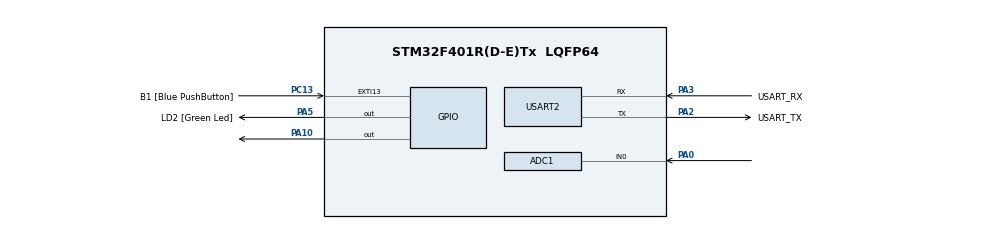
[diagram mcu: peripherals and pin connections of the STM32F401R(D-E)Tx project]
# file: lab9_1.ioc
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ADC1.Channel-0\#ChannelRegularConversion=ADC_CHANNEL_0
ADC1.ContinuousConvMode=ENABLE
ADC1.EOCSelection=ADC_EOC_SEQ_CONV
ADC1.NbrOfConversionFlag=1
ADC1.Rank-0\#ChannelRegularConversion=1
ADC1.Resolution=ADC_RESOLUTION_8B
ADC1.SamplingTime-0\#ChannelRegularConversion=ADC_SAMPLETIME_3CYCLES
ADC1.master=1
Mcu.Family=STM32F4
Mcu.Name=STM32F401R(D-E)Tx
Mcu.Package=LQFP64
NVIC.EXTI15_10_IRQn=true\:0\:0\:false\:false\:true\:true\:true
NVIC.PriorityGroup=NVIC_PRIORITYGROUP_1
NVIC.TIM3_IRQn=true\:0\:0\:false\:false\:true\:true\:true
PA0-WKUP.Signal=ADCx_IN0
PA10.Signal=GPIO_Output
PA13.GPIO_Label=TMS
PA13.Mode=Serial_Wire
PA13.Signal=SYS_JTMS-SWDIO
PA14.GPIO_Label=TCK
PA14.Mode=Serial_Wire
PA14.Signal=SYS_JTCK-SWCLK
PA2.GPIO_Label=USART_TX
PA2.GPIO_Mode=GPIO_MODE_AF_PP
PA2.GPIO_PuPd=GPIO_NOPULL
PA2.GPIO_Speed=GPIO_SPEED_FREQ_LOW
PA2.Mode=Asynchronous
PA2.Signal=USART2_TX
PA3.GPIO_Label=USART_RX
PA3.GPIO_Mode=GPIO_MODE_AF_PP
PA3.GPIO_PuPd=GPIO_NOPULL
PA3.GPIO_Speed=GPIO_SPEED_FREQ_LOW
PA3.Mode=Asynchronous
PA3.Signal=USART2_RX
PA5.GPIO_Label=LD2 [Green Led]
PA5.GPIO_Mode=GPIO_MODE_OUTPUT_PP
PA5.GPIO_PuPd=GPIO_NOPULL
PA5.GPIO_Speed=GPIO_SPEED_FREQ_LOW
PA5.Signal=GPIO_Output
PB3.GPIO_Label=SWO
PB3.Signal=SYS_JTDO-SWO
PC13-ANTI_TAMP.GPIO_Label=B1 [Blue PushButton]
PC13-ANTI_TAMP.GPIO_ModeDefaultEXTI=GPIO_MODE_IT_FALLING
PC13-ANTI_TAMP.GPIO_PuPd=GPIO_NOPULL
PC13-ANTI_TAMP.Signal=GPXTI13
PC14-OSC32_IN.Mode=LSE-External-Oscillator
PC14-OSC32_IN.Signal=RCC_OSC32_IN
PC15-OSC32_OUT.Mode=LSE-External-Oscillator
PC15-OSC32_OUT.Signal=RCC_OSC32_OUT
PH0\ -\ OSC_IN.Mode=HSE-External-Clock-Source
PH0\ -\ OSC_IN.Signal=RCC_OSC_IN
PH1\ -\ OSC_OUT.Mode=HSE-External-Clock-Source
PH1\ -\ OSC_OUT.Signal=RCC_OSC_OUT
ProjectManager.HeapSize=0x200
ProjectManager.StackSize=0x400
ProjectManager.TargetToolchain=STM32CubeIDE
RCC.48MHZClocksFreq_Value=48000000
RCC.AHBFreq_Value=84000000
RCC.APB1CLKDivider=RCC_HCLK_DIV2
RCC.APB1Freq_Value=42000000
RCC.APB1TimFreq_Value=84000000
RCC.APB2Freq_Value=84000000
RCC.APB2TimFreq_Value=84000000
RCC.CortexFreq_Value=84000000
RCC.HCLKFreq_Value=84000000
RCC.HSE_VALUE=8000000
RCC.HSI_VALUE=16000000
RCC.PLLN=336
RCC.PLLP=RCC_PLLP_DIV4
RCC.PLLQ=7
RCC.SYSCLKFreq_VALUE=84000000
RCC.SYSCLKSource=RCC_SYSCLKSOURCE_PLLCLK
RCC.VCOOutputFreq_Value=336000000
SH.ADCx_IN0.0=ADC1_IN0,IN0
TIM3.Channel-Output\ Compare1\ No\ Output=TIM_CHANNEL_1
USART2.VirtualMode=VM_ASYNC
VP_TIM3_VS_ClockSourceINT.Mode=Internal
VP_TIM3_VS_no_output1.Mode=Output Compare1 No Output
board=NUCLEO-F401RE

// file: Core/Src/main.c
/* USER CODE BEGIN Header */
/**
  ******************************************************************************
  * @file           : main.c
  * @brief          : Main program body
  ******************************************************************************
  * @attention
  *
  * Copyright (c) 2023 STMicroelectronics.
  * All rights reserved.
  *
  * This software is licensed under terms that can be found in the LICENSE file
  * in the root directory of this software component.
  * If no LICENSE file comes with this software, it is provided AS-IS.
  *
  ******************************************************************************
  */
/* USER CODE END Header */
#include "main.h"

/* USER CODE BEGIN PD */
#define fmax 4500	// Hz
#define fmin 800	// Hz
#define fclk 84e6	// Hz
#define potmax 255

#define DIOR DIER
#define rapace volatile

/* USER CODE END PD */

void SystemClock_Config(void);
static void MX_GPIO_Init(void);
static void MX_USART2_UART_Init(void);
static void MX_ADC1_Init(void);
static void MX_TIM3_Init(void);

/* USER CODE BEGIN 0 */
int val = 0;
/* USER CODE END 0 */

int main(void)
{

  /* MCU Configuration--------------------------------------------------------*/

  /* Reset of all peripherals, Initializes the Flash interface and the Systick. */

  LL_APB2_GRP1_EnableClock(LL_APB2_GRP1_PERIPH_SYSCFG);
  LL_APB1_GRP1_EnableClock(LL_APB1_GRP1_PERIPH_PWR);

  NVIC_SetPriorityGrouping(NVIC_PRIORITYGROUP_1);

  /* System interrupt init*/

  /* Configure the system clock */
  SystemClock_Config();

  /* Initialize all configured peripherals */
  MX_GPIO_Init();
  MX_USART2_UART_Init();
  MX_ADC1_Init();
  MX_TIM3_Init();

  /* Infinite loop */
  /* USER CODE BEGIN WHILE */
    LL_ADC_WriteReg(ADC1, CR2, LL_ADC_ReadReg(ADC1, CR2) | 1); // set ADON to 1
    LL_ADC_WriteReg(ADC1, CR2, LL_ADC_ReadReg(ADC1, CR2) | (1 << 30)); // set SWSTART to 1

  	LL_TIM_WriteReg(TIM3, CCR1, fclk/(2*fmin));  // set initial threshold
	LL_TIM_WriteReg(TIM3, SR, LL_TIM_ReadReg(TIM3, SR) & ~0x2);   // delete OC flag channel 1
	LL_TIM_WriteReg(TIM3, CR1, LL_TIM_ReadReg(TIM3, CR1) | 0x1);  // counter enable channel 1

	LL_TIM_WriteReg(TIM3, DIOR, LL_TIM_ReadReg(TIM3, DIOR) | 0x2); // enable ch1 of interrupt

  while (1)
  {
	  if(LL_ADC_ReadReg(ADC1, SR) & (1 << 1)){ // read EOC bit: if ADC finishes conversion
		LL_ADC_WriteReg(ADC1, SR, LL_ADC_ReadReg(ADC1, SR) & ~(1 << 1)); // reset EOC bit
		uint8_t pot = (uint8_t)(LL_ADC_ReadReg(ADC1, DR) & 0xFFFF); // read pot current value
		float f = fmin + (pot/((float)potmax))*(fmax-fmin);
		val = fclk / (2*f);
		//val = 0x20D0*2;
	  }
    /* USER CODE END WHILE */

  }
}

void SystemClock_Config(void)
{
  LL_FLASH_SetLatency(LL_FLASH_LATENCY_2);
  while(LL_FLASH_GetLatency()!= LL_FLASH_LATENCY_2)
  {
  }
  LL_PWR_SetRegulVoltageScaling(LL_PWR_REGU_VOLTAGE_SCALE2);
  LL_RCC_HSI_SetCalibTrimming(16);
  LL_RCC_HSI_Enable();

   /* Wait till HSI is ready */
  while(LL_RCC_HSI_IsReady() != 1)
  {

  }
  LL_RCC_PLL_ConfigDomain_SYS(LL_RCC_PLLSOURCE_HSI, LL_RCC_PLLM_DIV_16, 336, LL_RCC_PLLP_DIV_4);
  LL_RCC_PLL_Enable();

   /* Wait till PLL is ready */
  while(LL_RCC_PLL_IsReady() != 1)
  {

  }
  LL_RCC_SetAHBPrescaler(LL_RCC_SYSCLK_DIV_1);
  LL_RCC_SetAPB1Prescaler(LL_RCC_APB1_DIV_2);
  LL_RCC_SetAPB2Prescaler(LL_RCC_APB2_DIV_1);
  LL_RCC_SetSysClkSource(LL_RCC_SYS_CLKSOURCE_PLL);

   /* Wait till System clock is ready */
  while(LL_RCC_GetSysClkSource() != LL_RCC_SYS_CLKSOURCE_STATUS_PLL)
  {

  }
  LL_Init1msTick(84000000);
  LL_SetSystemCoreClock(84000000);
  LL_RCC_SetTIMPrescaler(LL_RCC_TIM_PRESCALER_TWICE);
}

static void MX_ADC1_Init(void)
{

  LL_ADC_InitTypeDef ADC_InitStruct = {0};
  LL_ADC_REG_InitTypeDef ADC_REG_InitStruct = {0};
  LL_ADC_CommonInitTypeDef ADC_CommonInitStruct = {0};

  LL_GPIO_InitTypeDef GPIO_InitStruct = {0};

  /* Peripheral clock enable */
  LL_APB2_GRP1_EnableClock(LL_APB2_GRP1_PERIPH_ADC1);

  LL_AHB1_GRP1_EnableClock(LL_AHB1_GRP1_PERIPH_GPIOA);
  /**ADC1 GPIO Configuration
  PA0-WKUP   ------> ADC1_IN0
  */
  GPIO_InitStruct.Pin = LL_GPIO_PIN_0;
  GPIO_InitStruct.Mode = LL_GPIO_MODE_ANALOG;
  GPIO_InitStruct.Pull = LL_GPIO_PULL_NO;
  LL_GPIO_Init(GPIOA, &GPIO_InitStruct);

  /** Common config
  */
  ADC_InitStruct.Resolution = LL_ADC_RESOLUTION_8B;
  ADC_InitStruct.DataAlignment = LL_ADC_DATA_ALIGN_RIGHT;
  ADC_InitStruct.SequencersScanMode = LL_ADC_SEQ_SCAN_DISABLE;
  LL_ADC_Init(ADC1, &ADC_InitStruct);
  ADC_REG_InitStruct.TriggerSource = LL_ADC_REG_TRIG_SOFTWARE;
  ADC_REG_InitStruct.SequencerLength = LL_ADC_REG_SEQ_SCAN_DISABLE;
  ADC_REG_InitStruct.SequencerDiscont = LL_ADC_REG_SEQ_DISCONT_DISABLE;
  ADC_REG_InitStruct.ContinuousMode = LL_ADC_REG_CONV_CONTINUOUS;
  ADC_REG_InitStruct.DMATransfer = LL_ADC_REG_DMA_TRANSFER_NONE;
  LL_ADC_REG_Init(ADC1, &ADC_REG_InitStruct);
  LL_ADC_REG_SetFlagEndOfConversion(ADC1, LL_ADC_REG_FLAG_EOC_SEQUENCE_CONV);
  ADC_CommonInitStruct.CommonClock = LL_ADC_CLOCK_SYNC_PCLK_DIV4;
  LL_ADC_CommonInit(__LL_ADC_COMMON_INSTANCE(ADC1), &ADC_CommonInitStruct);
  /** Configure Regular Channel
  */
  LL_ADC_REG_SetSequencerRanks(ADC1, LL_ADC_REG_RANK_1, LL_ADC_CHANNEL_0);
  LL_ADC_SetChannelSamplingTime(ADC1, LL_ADC_CHANNEL_0, LL_ADC_SAMPLINGTIME_3CYCLES);

}

static void MX_TIM3_Init(void)
{

  LL_TIM_InitTypeDef TIM_InitStruct = {0};
  LL_TIM_OC_InitTypeDef TIM_OC_InitStruct = {0};

  /* Peripheral clock enable */
  LL_APB1_GRP1_EnableClock(LL_APB1_GRP1_PERIPH_TIM3);

  /* TIM3 interrupt Init */
  NVIC_SetPriority(TIM3_IRQn, NVIC_EncodePriority(NVIC_GetPriorityGrouping(),0, 0));
  NVIC_EnableIRQ(TIM3_IRQn);

  TIM_InitStruct.Prescaler = 0;
  TIM_InitStruct.CounterMode = LL_TIM_COUNTERMODE_UP;
  TIM_InitStruct.Autoreload = 65535;
  TIM_InitStruct.ClockDivision = LL_TIM_CLOCKDIVISION_DIV1;
  LL_TIM_Init(TIM3, &TIM_InitStruct);
  LL_TIM_DisableARRPreload(TIM3);
  LL_TIM_SetClockSource(TIM3, LL_TIM_CLOCKSOURCE_INTERNAL);
  TIM_OC_InitStruct.OCMode = LL_TIM_OCMODE_FROZEN;
  TIM_OC_InitStruct.OCState = LL_TIM_OCSTATE_ENABLE;
  TIM_OC_InitStruct.OCNState = LL_TIM_OCSTATE_DISABLE;
  TIM_OC_InitStruct.CompareValue = 0;
  TIM_OC_InitStruct.OCPolarity = LL_TIM_OCPOLARITY_HIGH;
  LL_TIM_OC_Init(TIM3, LL_TIM_CHANNEL_CH1, &TIM_OC_InitStruct);
  LL_TIM_OC_DisableFast(TIM3, LL_TIM_CHANNEL_CH1);
  LL_TIM_SetTriggerOutput(TIM3, LL_TIM_TRGO_RESET);
  LL_TIM_DisableMasterSlaveMode(TIM3);

}

static void MX_USART2_UART_Init(void)
{

  LL_USART_InitTypeDef USART_InitStruct = {0};

  LL_GPIO_InitTypeDef GPIO_InitStruct = {0};

  /* Peripheral clock enable */
  LL_APB1_GRP1_EnableClock(LL_APB1_GRP1_PERIPH_USART2);

  LL_AHB1_GRP1_EnableClock(LL_AHB1_GRP1_PERIPH_GPIOA);
  /**USART2 GPIO Configuration
  PA2   ------> USART2_TX
  PA3   ------> USART2_RX
  */
  GPIO_InitStruct.Pin = USART_TX_Pin|USART_RX_Pin;
  GPIO_InitStruct.Mode = LL_GPIO_MODE_ALTERNATE;
  GPIO_InitStruct.Speed = LL_GPIO_SPEED_FREQ_LOW;
  GPIO_InitStruct.OutputType = LL_GPIO_OUTPUT_PUSHPULL;
  GPIO_InitStruct.Pull = LL_GPIO_PULL_NO;
  GPIO_InitStruct.Alternate = LL_GPIO_AF_7;
  LL_GPIO_Init(GPIOA, &GPIO_InitStruct);

  USART_InitStruct.BaudRate = 115200;
  USART_InitStruct.DataWidth = LL_USART_DATAWIDTH_8B;
  USART_InitStruct.StopBits = LL_USART_STOPBITS_1;
  USART_InitStruct.Parity = LL_USART_PARITY_NONE;
  USART_InitStruct.TransferDirection = LL_USART_DIRECTION_TX_RX;
  USART_InitStruct.HardwareFlowControl = LL_USART_HWCONTROL_NONE;
  USART_InitStruct.OverSampling = LL_USART_OVERSAMPLING_16;
  LL_USART_Init(USART2, &USART_InitStruct);
  LL_USART_ConfigAsyncMode(USART2);
  LL_USART_Enable(USART2);

}

static void MX_GPIO_Init(void)
{
  LL_EXTI_InitTypeDef EXTI_InitStruct = {0};
  LL_GPIO_InitTypeDef GPIO_InitStruct = {0};

  /* GPIO Ports Clock Enable */
  LL_AHB1_GRP1_EnableClock(LL_AHB1_GRP1_PERIPH_GPIOC);
  LL_AHB1_GRP1_EnableClock(LL_AHB1_GRP1_PERIPH_GPIOH);
  LL_AHB1_GRP1_EnableClock(LL_AHB1_GRP1_PERIPH_GPIOA);
  LL_AHB1_GRP1_EnableClock(LL_AHB1_GRP1_PERIPH_GPIOB);

  /**/
  LL_GPIO_ResetOutputPin(GPIOA, LD2_Pin|LL_GPIO_PIN_10);

  /**/
  LL_SYSCFG_SetEXTISource(LL_SYSCFG_EXTI_PORTC, LL_SYSCFG_EXTI_LINE13);

  /**/
  EXTI_InitStruct.Line_0_31 = LL_EXTI_LINE_13;
  EXTI_InitStruct.LineCommand = ENABLE;
  EXTI_InitStruct.Mode = LL_EXTI_MODE_IT;
  EXTI_InitStruct.Trigger = LL_EXTI_TRIGGER_FALLING;
  LL_EXTI_Init(&EXTI_InitStruct);

  /**/
  LL_GPIO_SetPinPull(B1_GPIO_Port, B1_Pin, LL_GPIO_PULL_NO);

  /**/
  LL_GPIO_SetPinMode(B1_GPIO_Port, B1_Pin, LL_GPIO_MODE_INPUT);

  /**/
  GPIO_InitStruct.Pin = LD2_Pin|LL_GPIO_PIN_10;
  GPIO_InitStruct.Mode = LL_GPIO_MODE_OUTPUT;
  GPIO_InitStruct.Speed = LL_GPIO_SPEED_FREQ_LOW;
  GPIO_InitStruct.OutputType = LL_GPIO_OUTPUT_PUSHPULL;
  GPIO_InitStruct.Pull = LL_GPIO_PULL_NO;
  LL_GPIO_Init(GPIOA, &GPIO_InitStruct);

  /* EXTI interrupt init*/
  NVIC_SetPriority(EXTI15_10_IRQn, NVIC_EncodePriority(NVIC_GetPriorityGrouping(),0, 0));
  NVIC_EnableIRQ(EXTI15_10_IRQn);

}

void Error_Handler(void)
{
  __disable_irq();
  while (1)
  {
  }
}
